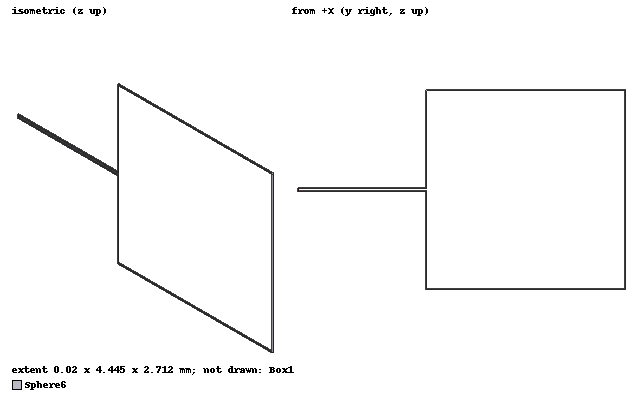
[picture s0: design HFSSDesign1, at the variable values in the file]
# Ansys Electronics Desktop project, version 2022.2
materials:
  vacuum: permittivity=1
  pec: conductivity=1e+30
  air: permittivity=1.0006 permeability=1.0000004

design HFSSDesign1 (HFSS, DrivenModal, model units mm)
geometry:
  Cylinder1 = cylinder(axis=Z, base_centre=(0mm, 0mm, -1.346mm), radius=0.01mm, height=2.692mm)
  Cylinder2 = cylinder(axis=Z, base_centre=(0mm, 2.692mm, -1.346mm), radius=0.01mm, height=2.692mm)
  Cylinder3 = cylinder(axis=Z, base_centre=(0mm, 0mm, -0.02mm), radius=0.01mm, height=0.04mm)
  Cylinder1.subtract(Cylinder3)
  Cylinder4 = cylinder(axis=Y, base_centre=(0mm, 2.692mm, 1.346mm), radius=0.01mm, height=-2.692mm)
  Cylinder5 = cylinder(axis=Y, base_centre=(0mm, 2.692mm, -1.346mm), radius=0.01mm, height=-2.692mm)
  Cylinder6 = cylinder(axis=Y, base_centre=(0mm, 0mm, 0.02mm), radius=0.01mm, height=-1.743mm)
  Cylinder7 = cylinder(axis=Y, base_centre=(0mm, 0mm, -0.02mm), radius=0.01mm, height=-1.743mm)
  Sphere1 = sphere(centre=(0mm, 0mm, 1.346mm), radius=0.01mm)
  Sphere2 = sphere(centre=(0mm, 2.692mm, 1.346mm), radius=0.01mm)
  Sphere3 = sphere(centre=(0mm, 0mm, -1.346mm), radius=0.01mm)
  Sphere4 = sphere(centre=(0mm, 2.692mm, -1.346mm), radius=0.01mm)
  Sphere5 = sphere(centre=(0mm, 0mm, 0.02mm), radius=0.01mm)
  Sphere6 [pec] = sphere(centre=(0mm, 0mm, -0.02mm), radius=0.01mm)
  Rectangle1 [pec] = rectangle(corner=(0mm, -1.743mm, 0.01mm), y_size=0.017mm, z_size=-0.02mm)
  Sphere6.unite(Sphere5, Sphere4, Sphere3, Sphere2, Sphere1, Cylinder7, Cylinder6, Cylinder5, Cylinder4, Cylinder2, Cylinder1)
  Box1 [air] = box(corner=(-80mm, -30mm, -25mm), size=(1000mm, 300mm, 200mm))
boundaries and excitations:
  Rad1: Radiation Objects=Box1
  1: Lumped Port Objects=Rectangle1 Modes{Mode1{IntLine{(0, -1.735, -0.01) -> (0, -1.735, 0.01)} CharImp=Zpi RenormImp=73ohm}} Impedance=50ohm
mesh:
  initial mesh: GlobalSurfApproximation{CurvedSurfaceApproxChoice=UseSlider SliderMeshSettings=1}
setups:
  Setup1: HfssDriven Frequency=28MHz MaxDeltaS=0.02 MaximumPasses=6 MinimumPasses=1 MinimumConvergedPasses=1 PercentRefinement=30 BasisOrder=1 PortAccuracy=2 DrivenSolverType="Direct Solver"
    sweep Sweep: 0.1MHz to 40MHz step 0.01MHz; Type=Fast SaveFields
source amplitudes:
  1:1: 1W 0deg
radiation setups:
  Infinite Sphere1: Infinite Sphere Theta=0deg..180deg step 10deg Phi=0deg..360deg step 10deg
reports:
  S Parameter Plot 1: dB(S(1,1)) vs Freq on Setup1 : Sweep
